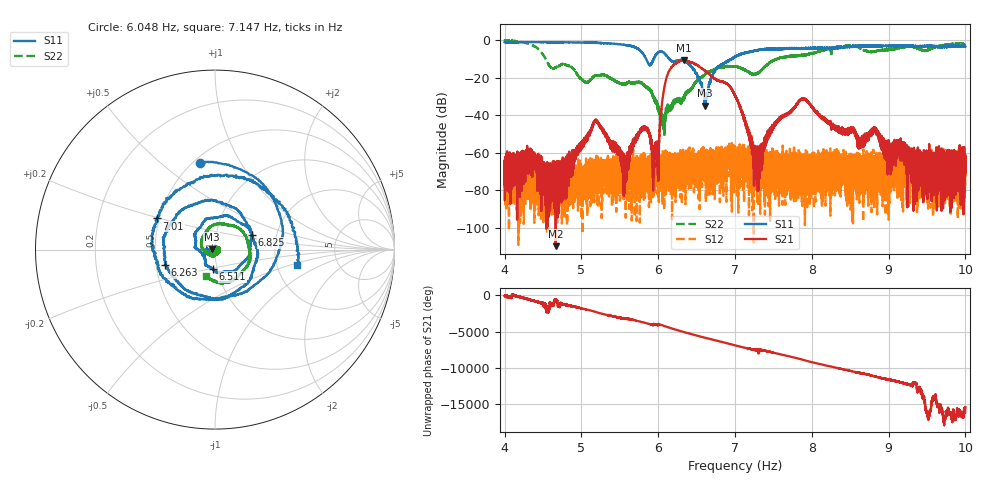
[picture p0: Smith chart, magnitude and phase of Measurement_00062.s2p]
!Created with skrf (http://scikit-rf.org).
# Hz S RI R 50.0
!freq ReS11 ImS11 ReS21 ImS21 ReS12 ImS12 ReS22 ImS22
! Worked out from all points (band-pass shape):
!   14001 points, 4 Hz to 10 Hz, reference 50 ohm
!   highest |S21| = -10.71 dB at 6.334 Hz (marker M1); lowest = -109.8 dB at 4.666 Hz (marker M2)
!   |S21| within 3 dB of the highest: 6.19 Hz to 6.522 Hz (331.5 mHz wide, 5.22 % of centre); 6.5218 Hz to 6.522641 Hz (841 uHz wide, 0.0129 % of centre)
!   lowest |S11| = -34.9 dB at 6.612 Hz (marker M3), VSWR 1.04, Z = 48.2 + j0.107 ohm
!   |S11| at or under -10 dB: 5.841 Hz to 5.94 Hz (98.93 mHz wide, 1.68 % of centre); 5.940471 Hz to 5.941246 Hz (775.3 uHz wide, 0.0131 % of centre); 6.143 Hz to 6.956 Hz (812.4 mHz wide, 12.4 % of centre)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
!   |S22| runs from -51.6 to -0.2 dB; largest |S21 - S12| = 0.29
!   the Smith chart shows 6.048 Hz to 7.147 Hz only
!   S11 on the Smith chart (normalised r, x): 6.048 Hz: 0.54, +0.69; 6.263 Hz: 0.56, -0.10; 6.511 Hz: 0.96, -0.21; 6.825 Hz: 1.49, +0.26; 7.01 Hz: 0.49, +0.20; 7.147 Hz: 2.61, -0.56
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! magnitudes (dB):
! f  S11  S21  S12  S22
! 4 Hz  -1.1  -66.8  -73.8  -0.3
! 4.666 Hz  -1.1  -109.8  -82.4  -14.4
! 5 Hz  -1.3  -56.9  -69.6  -20.8
! 5.187 Hz  -1.4  -42.3  -66.4  -18.7
! 5.564 Hz  -2.6  -70.6  -71.2  -23.7
! 5.803 Hz  -7.2  -47.3  -70.1  -23.3
! 6 Hz  -6.6  -62.5  -68.4  -35.4
! 6.048 Hz  -6.2  -34.3  -71.9  -42.2
! 6.127 Hz  -9.3  -17.8  -67.7  -34.9
! 6.263 Hz  -10.8  -11.6  -72.1  -32.0
! 6.334 Hz  -11.1  -10.7  -76.3  -31.0
! 6.511 Hz  -19.4  -13.4  -65.6  -21.3
! 6.612 Hz  -34.9  -16.4  -70.1  -18.0
! 6.825 Hz  -13.1  -22.0  -72.5  -14.4
! 7 Hz  -9.0  -29.4  -58.4  -14.1
! 7.01 Hz  -8.7  -30.2  -61.1  -14.1
! 7.147 Hz  -6.6  -46.1  -63.0  -16.2
! 7.297 Hz  -5.2  -60.4  -61.6  -17.5
! 7.575 Hz  -4.9  -42.0  -69.7  -9.8
! 8 Hz  -4.5  -35.5  -70.5  -6.9
! 9 Hz  -3.2  -65.4  -75.5  -5.0
! 10 Hz  -3.5  -62.8  -68.9  -3.0
